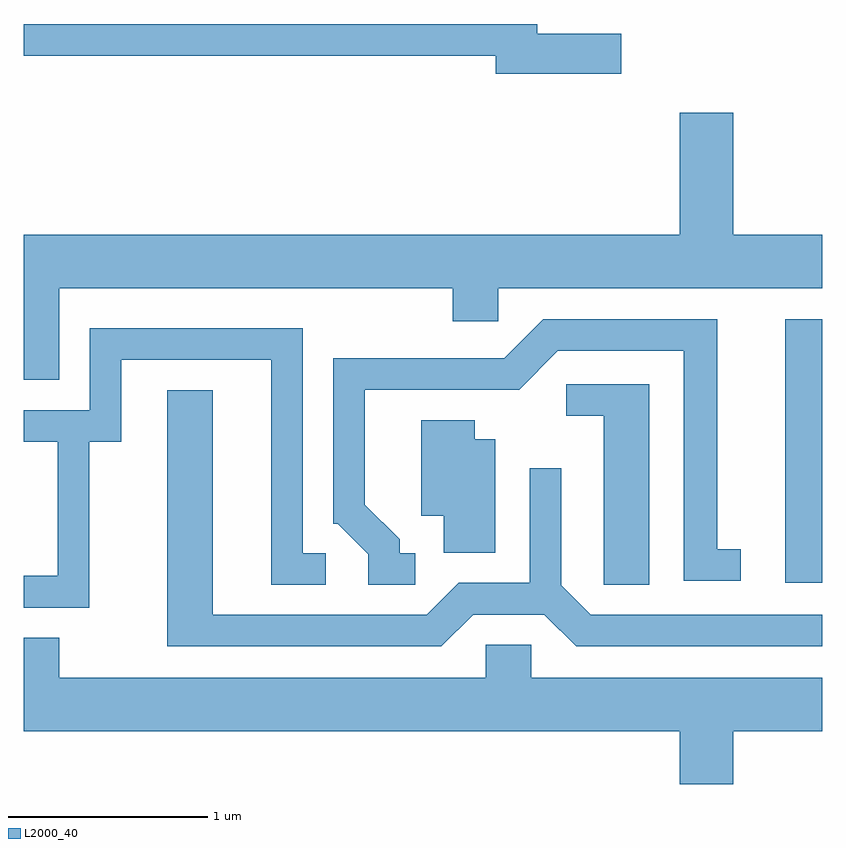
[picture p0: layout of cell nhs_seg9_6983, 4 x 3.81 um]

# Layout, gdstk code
import gdstk
lib = gdstk.Library(unit=1e-6, precision=1e-09)
def R(c, l, rs):  # rectangles x0, y0, x1, y1
    for r in rs: c.add(gdstk.rectangle(r[:2], r[2:], *l))
def P(c, l, *ps):  # polygons
    for p in ps: c.add(gdstk.Polygon(p, *l))
L2000_40 = (2000, 40)

nhs_seg9_6983 = lib.new_cell('nhs_seg9_6983')
R(nhs_seg9_6983, L2000_40, [(395.426,2001.441,395.611,2002.759)])
P(nhs_seg9_6983, L2000_40, [(394.604,2004.189),(394.184,2004.189),(394.184,2004.239),(391.611,2004.239),(391.611,2004.081),(393.976,2004.081),(393.976,2003.991),(394.604,2003.991)],
  [(391.789,2002.916),(393.761,2002.916),(393.761,2002.751),(393.989,2002.751),(393.989,2002.916),(395.611,2002.916),(395.611,2003.184),(395.164,2003.184),(395.164,2003.794),(394.896,2003.794),(394.896,2003.184),(391.611,2003.184),(391.611,2002.456),(391.789,2002.456)],
  [(393.573,2001.589),(393.494,2001.589),(393.494,2001.657),(393.319,2001.832),(393.319,2002.406),(394.092,2002.406),(394.287,2002.601),(394.916,2002.601),(394.916,2001.451),(395.203,2001.451),(395.203,2001.609),(395.084,2001.609),(395.084,2002.759),(394.214,2002.759),(394.019,2002.564),(393.161,2002.564),(393.161,2001.736),(393.184,2001.736),(393.336,2001.584),(393.336,2001.431),(393.573,2001.431)],
  [(391.939,2002.146),(392.099,2002.146),(392.099,2002.556),(392.851,2002.556),(392.851,2001.431),(393.123,2001.431),(393.123,2001.589),(393.009,2001.589),(393.009,2002.714),(391.941,2002.714),(391.941,2002.304),(391.611,2002.304),(391.611,2002.146),(391.781,2002.146),(391.781,2001.474),(391.611,2001.474),(391.611,2001.316),(391.939,2001.316)],
  [(394.744,2002.434),(394.328,2002.434),(394.328,2002.276),(394.516,2002.276),(394.516,2001.431),(394.744,2001.431)],
  [(393.862,2001.281),(394.219,2001.281),(394.379,2001.121),(395.611,2001.121),(395.611,2001.279),(394.452,2001.279),(394.304,2001.427),(394.304,2002.013),(394.146,2002.013),(394.146,2001.439),(393.789,2001.439),(393.629,2001.279),(392.559,2001.279),(392.559,2002.404),(392.331,2002.404),(392.331,2001.121),(393.702,2001.121)],
  [(393.974,2002.159),(393.869,2002.159),(393.869,2002.254),(393.601,2002.254),(393.601,2001.776),(393.716,2001.776),(393.716,2001.591),(393.974,2001.591)],
  [(395.164,2000.696),(395.611,2000.696),(395.611,2000.964),(394.154,2000.964),(394.154,2001.129),(393.926,2001.129),(393.926,2000.964),(391.789,2000.964),(391.789,2001.164),(391.611,2001.164),(391.611,2000.696),(394.896,2000.696),(394.896,2000.432),(395.164,2000.432)])

lib.write_gds('nhs_seg9_6983.gds')
